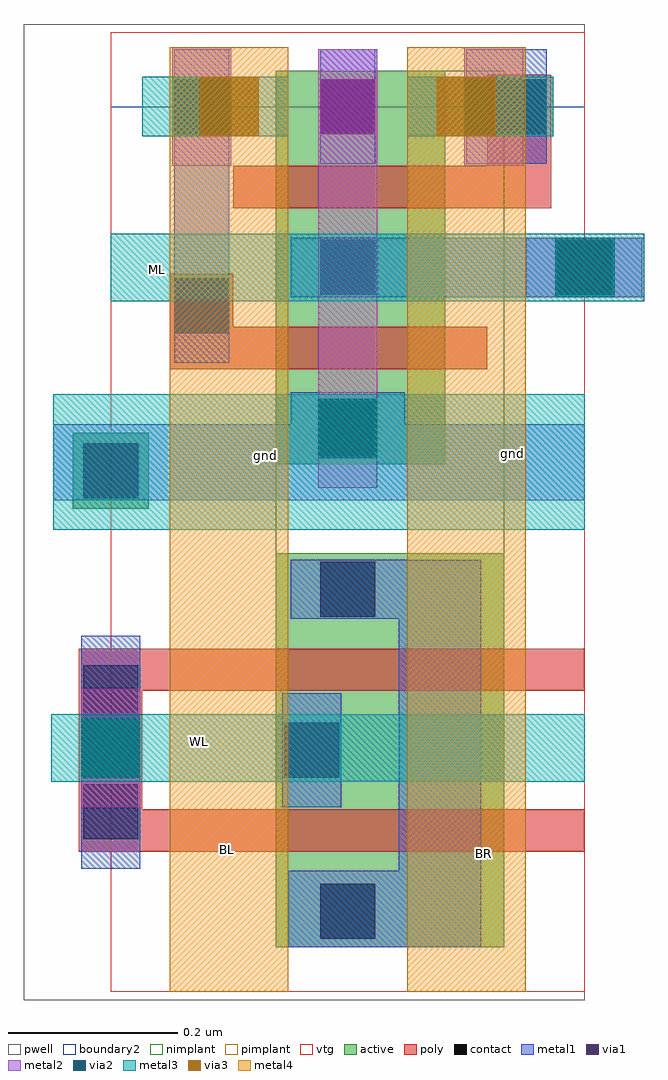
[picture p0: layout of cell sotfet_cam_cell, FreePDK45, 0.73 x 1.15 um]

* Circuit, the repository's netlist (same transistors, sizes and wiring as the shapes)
************************************************************************
* auCdl Netlist:
* 
* Library Name:  spintronics
* Top Cell Name: sotfet_cam_cell
* View Name:     schematic_for_lvs
* Netlisted on:  Sep  9 22:46:20 2021
************************************************************************

*.EQUATION
*.SCALE METER
*.MEGA
.PARAM



************************************************************************
* Library Name: spintronics
* Cell Name:    sotfet_cam_cell
* View Name:    schematic_for_lvs
************************************************************************

.SUBCKT sotfet_cam_cell BL BR ML WL gnd
MM0 ML BL gnd gnd NMOS_VTG W=200n L=50n m=1
MM2 ML BR gnd gnd NMOS_VTG W=200n L=50n m=1
MM3 sot_1_gate WL sot_2_gate gnd NMOS_VTG W=270.0n L=50n m=2
.ENDS

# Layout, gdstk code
from math import pi, radians
import gdstk
lib = gdstk.Library(unit=1e-6, precision=5e-10)
def R(c, l, rs):  # rectangles x0, y0, x1, y1
    for r in rs: c.add(gdstk.rectangle(r[:2], r[2:], *l))
def A(c, l, x, y, w, h, nx, ny, dx, dy):  # array of equal rectangles
    R(c, l, [(x+i*dx, y+j*dy, x+i*dx+w, y+j*dy+h) for i in range(nx) for j in range(ny)])
active = (1, 0)
pwell = (2, 0)
nimplant = (4, 0)
pimplant = (5, 0)
vtg = (6, 0)
poly = (9, 0)
contact = (10, 0)
metal1 = (11, 0)
via1 = (12, 0)
metal2 = (13, 0)
via2 = (14, 0)
metal3 = (15, 0)
via3 = (16, 0)
metal4 = (17, 0)
boundary2 = (239, 0)

m2_m1_cdns_631241749530 = lib.new_cell('M2_M1_CDNS_631241749530')
R(m2_m1_cdns_631241749530, metal1, [(-0.0325,-0.0675,0.0325,0.0675)])
R(m2_m1_cdns_631241749530, via1, [(-0.0325,-0.0325,0.0325,0.0325)])
R(m2_m1_cdns_631241749530, metal2, [(-0.035,-0.0675,0.035,0.0675)])

m3_m2_cdns_631241749531 = lib.new_cell('M3_M2_CDNS_631241749531')
R(m3_m2_cdns_631241749531, metal2, [(-0.035,-0.07,0.035,0.07)])
R(m3_m2_cdns_631241749531, via2, [(-0.035,-0.035,0.035,0.035)])
R(m3_m2_cdns_631241749531, metal3, [(-0.035,-0.07,0.035,0.07)])

m2_m1_cdns_631241749532 = lib.new_cell('M2_M1_CDNS_631241749532')
R(m2_m1_cdns_631241749532, metal1, [(-0.0325,-0.0675,0.0325,0.0675)])
R(m2_m1_cdns_631241749532, via1, [(-0.0325,-0.0325,0.0325,0.0325)])
R(m2_m1_cdns_631241749532, metal2, [(-0.0675,-0.035,0.0675,0.035)])

m1_poly_cdns_63124174953 = lib.new_cell('M1_POLY_CDNS_631241749533')
R(m1_poly_cdns_63124174953, poly, [(-0.0375,-0.0375,0.0375,0.0375)])
R(m1_poly_cdns_63124174953, contact, [(-0.0325,-0.0325,0.0325,0.0325)])
R(m1_poly_cdns_63124174953, metal1, [(-0.0325,-0.0675,0.0325,0.0675)])

m4_m3_cdns_631241749534 = lib.new_cell('M4_M3_CDNS_631241749534')
R(m4_m3_cdns_631241749534, metal3, [(-0.035,-0.07,0.035,0.07)])
R(m4_m3_cdns_631241749534, via3, [(-0.035,-0.035,0.035,0.035)])
R(m4_m3_cdns_631241749534, metal4, [(-0.07,-0.07,0.07,0.07)])

m3_m2_cdns_631241749535 = lib.new_cell('M3_M2_CDNS_631241749535')
R(m3_m2_cdns_631241749535, metal2, [(-0.035,-0.07,0.035,0.07)])
R(m3_m2_cdns_631241749535, via2, [(-0.035,-0.035,0.035,0.035)])
R(m3_m2_cdns_631241749535, metal3, [(-0.07,-0.035,0.07,0.035)])

ptap_cdns_631241749536 = lib.new_cell('PTAP_CDNS_631241749536')
R(ptap_cdns_631241749536, active, [(-0.045,-0.045,0.045,0.045)])
R(ptap_cdns_631241749536, pwell, [(-0.1,-0.1,0.1,0.1)])
R(ptap_cdns_631241749536, pimplant, [(-0.045,-0.045,0.045,0.045)])
R(ptap_cdns_631241749536, contact, [(-0.0325,-0.0325,0.0325,0.0325)])
R(ptap_cdns_631241749536, metal1, [(-0.0325,-0.0675,0.0325,0.0675)])

sotfet_cam_cell = lib.new_cell('sotfet_cam_cell')
R(sotfet_cam_cell, active, [(0.195,0.0525,0.465,0.5175), (0.195,0.6225,0.395,1.0875)])
R(sotfet_cam_cell, pwell, [(-0.1025,-0.01,0.56,1.1425)])
R(sotfet_cam_cell, nimplant, [(0.195,0.0525,0.465,1.0875)])
R(sotfet_cam_cell, vtg, [(0,0,0.56,1.1325)])
R(sotfet_cam_cell, poly, [(-0.0375,0.165,0.0375,0.405), (-0.0375,0.165,0.56,0.215), (-0.0375,0.355,0.56,0.405), (0.07,0.735,0.445,0.785), (0.145,0.925,0.445,0.975), (0.445,0.925,0.52,1.08)])
A(sotfet_cam_cell, contact, 0.2475, 0.4425, 0.065, 0.065, 1, 4, 0, 0.19)
R(sotfet_cam_cell, contact, [(0.2475,0.0625,0.3125,0.1275), (-0.0325,0.18,0.0325,0.245), (0.205,0.2525,0.27,0.3175), (-0.0325,0.32,0.0325,0.385)])
R(sotfet_cam_cell, metal1, [(0.21,0.0525,0.4375,0.1425), (0.34,0.065,0.4375,0.51), (-0.035,0.145,0.035,0.42), (0.2025,0.2175,0.2725,0.3525), (0.2125,0.44,0.365,0.51), (-0.0675,0.58,0.56,0.67), (0.2125,0.6225,0.3475,0.7075), (0.075,0.75,0.14,1.0825), (0.2125,0.82,0.6275,0.89)])
R(sotfet_cam_cell, metal2, [(0.245,0.6225,0.315,1.09)])
R(sotfet_cam_cell, metal3, [(-0.07,0.2475,0.56,0.3275), (-0.0675,0.545,0.56,0.705), (0,0.815,0.63,0.895)])
R(sotfet_cam_cell, metal4, [(0.07,0,0.21,1.115), (0.35,0,0.49,1.1125)])
R(sotfet_cam_cell, boundary2, [(0,0,0.56,1.045)])
sotfet_cam_cell.add(gdstk.Reference(m2_m1_cdns_631241749530, (0.4525,1.045)))
sotfet_cam_cell.add(gdstk.Reference(m2_m1_cdns_631241749530, (0.1075,1.045)))
sotfet_cam_cell.add(gdstk.Reference(m2_m1_cdns_631241749530, (0.28,1.045)))
sotfet_cam_cell.add(gdstk.Reference(m2_m1_cdns_631241749530, (0,0.2875)))
sotfet_cam_cell.add(gdstk.Reference(m2_m1_cdns_631241749530, (0.56,0.855), rotation=pi/2))
sotfet_cam_cell.add(gdstk.Reference(m3_m2_cdns_631241749531, (0.56,0.855), rotation=pi/2))
sotfet_cam_cell.add(gdstk.Reference(m2_m1_cdns_631241749532, (0.28,0.665), rotation=pi/2))
sotfet_cam_cell.add(gdstk.Reference(m1_poly_cdns_63124174953, (0.1075,0.81), rotation=pi))
sotfet_cam_cell.add(gdstk.Reference(m1_poly_cdns_63124174953, (0.4825,1.045)))
sotfet_cam_cell.add(gdstk.Reference(m4_m3_cdns_631241749534, (0.42,1.045), rotation=pi/2))
sotfet_cam_cell.add(gdstk.Reference(m4_m3_cdns_631241749534, (0.14,1.045), rotation=pi/2))
sotfet_cam_cell.add(gdstk.Reference(m3_m2_cdns_631241749535, (0.28,0.665)))
sotfet_cam_cell.add(gdstk.Reference(m3_m2_cdns_631241749535, (0.4525,1.045)))
sotfet_cam_cell.add(gdstk.Reference(m3_m2_cdns_631241749535, (0,0.2875)))
sotfet_cam_cell.add(gdstk.Reference(m3_m2_cdns_631241749535, (0.1075,1.045)))
sotfet_cam_cell.add(gdstk.Reference(ptap_cdns_631241749536, (0,0.615), rotation=pi/2))
sotfet_cam_cell.add(gdstk.Label('BL', (0.1375,0.1675), layer=17, texttype=0))
sotfet_cam_cell.add(gdstk.Label('BR', (0.44,0.1625), layer=17, texttype=0))
sotfet_cam_cell.add(gdstk.Label('gnd', (0.1825,0.6325), layer=11, texttype=0))
sotfet_cam_cell.add(gdstk.Label('gnd', (0.475,0.635), layer=15, texttype=0))
sotfet_cam_cell.add(gdstk.Label('ML', (0.055,0.8525), layer=15, texttype=0))
sotfet_cam_cell.add(gdstk.Label('WL', (0.105,0.295), layer=15, texttype=0))

lib.write_gds('sotfet_cam_cell.gds')
